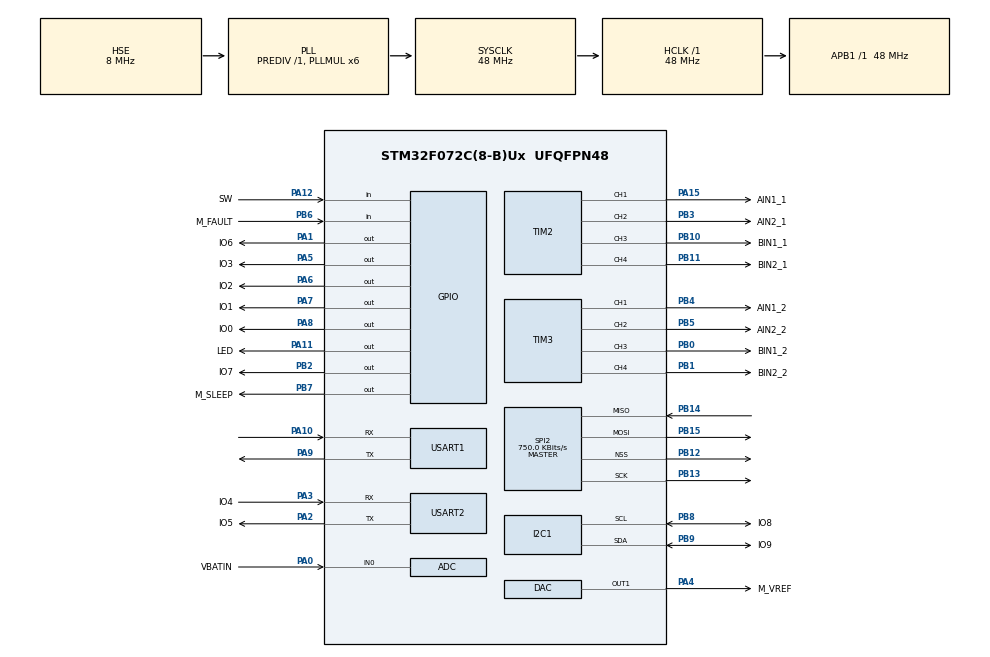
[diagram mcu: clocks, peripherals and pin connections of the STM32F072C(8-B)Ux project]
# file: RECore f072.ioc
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I2C1.Timing=0x20303E5D
Mcu.Family=STM32F0
Mcu.Name=STM32F072C(8-B)Ux
Mcu.Package=UFQFPN48
PA0.GPIO_Label=VBATIN
PA0.Mode=IN0
PA0.Signal=ADC_IN0
PA1.GPIO_Label=IO6
PA1.Signal=GPIO_Output
PA1.Stacked=true
PA10.Mode=Asynchronous
PA10.Signal=USART1_RX
PA11.GPIO_Label=LED
PA11.Signal=GPIO_Output
PA12.GPIO_Label=SW
PA12.GPIO_PuPd=GPIO_PULLUP
PA12.Signal=GPIO_Input
PA13.Mode=Serial_Wire
PA13.Signal=SYS_SWDIO
PA14.Mode=Serial_Wire
PA14.Signal=SYS_SWCLK
PA15.GPIO_Label=AIN1_1
PA15.Signal=S_TIM2_CH1_ETR
PA2.GPIO_Label=IO5
PA2.Signal=SharedStack_PA2
PA2.Stacked=true
PA3.GPIO_Label=IO4
PA3.Signal=SharedStack_PA3
PA3.Stacked=true
PA4.GPIO_Label=M_VREF
PA4.Signal=COMP_DAC1_group
PA5.GPIO_Label=IO3
PA5.Signal=GPIO_Output
PA5.Stacked=true
PA6.GPIO_Label=IO2
PA6.Signal=GPIO_Output
PA6.Stacked=true
PA7.GPIO_Label=IO1
PA7.Signal=GPIO_Output
PA7.Stacked=true
PA8.GPIO_Label=IO0
PA8.Signal=GPIO_Output
PA8.Stacked=true
PA9.Mode=Asynchronous
PA9.Signal=USART1_TX
PB0.GPIO_Label=BIN1_2
PB0.Signal=S_TIM3_CH3
PB1.GPIO_Label=BIN2_2
PB1.Signal=S_TIM3_CH4
PB10.GPIO_Label=BIN1_1
PB10.Signal=S_TIM2_CH3
PB11.GPIO_Label=BIN2_1
PB11.Signal=S_TIM2_CH4
PB12.Mode=NSS_Signal_Hard_Output
PB12.Signal=SPI2_NSS
PB13.Mode=Full_Duplex_Master
PB13.Signal=SPI2_SCK
PB14.Mode=Full_Duplex_Master
PB14.Signal=SPI2_MISO
PB15.Mode=Full_Duplex_Master
PB15.Signal=SPI2_MOSI
PB2.GPIO_Label=IO7
PB2.Signal=GPIO_Output
PB3.GPIO_Label=AIN2_1
PB3.Signal=S_TIM2_CH2
PB4.GPIO_Label=AIN1_2
PB4.Signal=S_TIM3_CH1
PB5.GPIO_Label=AIN2_2
PB5.Signal=S_TIM3_CH2
PB6.GPIO_Label=M_FAULT
PB6.Signal=GPIO_Input
PB7.GPIO_Label=M_SLEEP
PB7.Signal=GPIO_Output
PB8.GPIO_Label=IO8
PB8.Signal=SharedStack_PB8
PB8.Stacked=true
PB9.GPIO_Label=IO9
PB9.Signal=SharedStack_PB9
PB9.Stacked=true
PF0-OSC_IN.Mode=HSE-External-Oscillator
PF0-OSC_IN.Signal=RCC_OSC_IN
PF1-OSC_OUT.Mode=HSE-External-Oscillator
PF1-OSC_OUT.Signal=RCC_OSC_OUT
ProjectManager.HeapSize=0x200
ProjectManager.StackSize=0x400
ProjectManager.TargetToolchain=MDK-ARM V5.27
RCC.AHBFreq_Value=48000000
RCC.APB1Freq_Value=48000000
RCC.APB1TimFreq_Value=48000000
RCC.HCLKFreq_Value=48000000
RCC.I2c1ClockSelection=RCC_I2C1CLKSOURCE_SYSCLK
RCC.PLLMUL=RCC_PLL_MUL6
RCC.PLLSourceVirtual=RCC_PLLSOURCE_HSE
RCC.SYSCLKFreq_VALUE=48000000
RCC.SYSCLKSource=RCC_SYSCLKSOURCE_PLLCLK
SH.COMP_DAC1_group.0=DAC_OUT1,DAC_OUT1
SH.S_TIM2_CH1_ETR.0=TIM2_CH1,PWM Generation1 CH1
SH.S_TIM2_CH2.0=TIM2_CH2,PWM Generation2 CH2
SH.S_TIM2_CH3.0=TIM2_CH3,PWM Generation3 CH3
SH.S_TIM2_CH4.0=TIM2_CH4,PWM Generation4 CH4
SH.S_TIM3_CH1.0=TIM3_CH1,PWM Generation1 CH1
SH.S_TIM3_CH2.0=TIM3_CH2,PWM Generation2 CH2
SH.S_TIM3_CH3.0=TIM3_CH3,PWM Generation3 CH3
SH.S_TIM3_CH4.0=TIM3_CH4,PWM Generation4 CH4
SH.SharedStack_PA2.0=USART2_TX,Asynchronous
SH.SharedStack_PA3.0=USART2_RX,Asynchronous
SH.SharedStack_PB8.0=I2C1_SCL,I2C
SH.SharedStack_PB9.0=CAN_TX
SH.SharedStack_PB9.1=I2C1_SDA,I2C
SPI2.BaudRatePrescaler=SPI_BAUDRATEPRESCALER_64
SPI2.CalculateBaudRate=750.0 KBits/s
SPI2.Direction=SPI_DIRECTION_2LINES
SPI2.Mode=SPI_MODE_MASTER
SPI2.VirtualNSS=VM_NSSHARD
SPI2.VirtualType=VM_MASTER
TIM2.Channel-PWM\ Generation1\ CH1=TIM_CHANNEL_1
TIM2.Channel-PWM\ Generation2\ CH2=TIM_CHANNEL_2
TIM2.Channel-PWM\ Generation3\ CH3=TIM_CHANNEL_3
TIM2.Channel-PWM\ Generation4\ CH4=TIM_CHANNEL_4
TIM3.Channel-PWM\ Generation1\ CH1=TIM_CHANNEL_1
TIM3.Channel-PWM\ Generation2\ CH2=TIM_CHANNEL_2
TIM3.Channel-PWM\ Generation3\ CH3=TIM_CHANNEL_3
TIM3.Channel-PWM\ Generation4\ CH4=TIM_CHANNEL_4
USART1.VirtualMode-Asynchronous=VM_ASYNC
USART2.VirtualMode-Asynchronous=VM_ASYNC
VP_ADC_Vbat_Input.Mode=IN-Vbat
VP_TIM14_VS_ClockSourceINT.Mode=Enable_Timer
VP_TIM16_VS_ClockSourceINT.Mode=Enable_Timer
VP_TIM17_VS_ClockSourceINT.Mode=Enable_Timer
board=custom

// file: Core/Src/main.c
/* USER CODE BEGIN Header */
/**
  ******************************************************************************
  * @file           : main.c
  * @brief          : Main program body
  ******************************************************************************
  * @attention
  *
  * <h2><center>&copy; Copyright (c) 2021 STMicroelectronics.
  * All rights reserved.</center></h2>
  *
  * This software component is licensed by ST under BSD 3-Clause license,
  * the "License"; You may not use this file except in compliance with the
  * License. You may obtain a copy of the License at:
  *                        opensource.org/licenses/BSD-3-Clause
  *
  ******************************************************************************
  */
/* USER CODE END Header */
#include "main.h"

ADC_HandleTypeDef hadc;

DAC_HandleTypeDef hdac;

I2C_HandleTypeDef hi2c1;

SPI_HandleTypeDef hspi2;

TIM_HandleTypeDef htim2;
TIM_HandleTypeDef htim3;
TIM_HandleTypeDef htim14;
TIM_HandleTypeDef htim16;
TIM_HandleTypeDef htim17;

UART_HandleTypeDef huart1;
UART_HandleTypeDef huart2;

void SystemClock_Config(void);
static void MX_GPIO_Init(void);
static void MX_ADC_Init(void);
static void MX_DAC_Init(void);
static void MX_SPI2_Init(void);
static void MX_TIM2_Init(void);
static void MX_TIM3_Init(void);
static void MX_TIM14_Init(void);
static void MX_USART1_UART_Init(void);
static void MX_TIM16_Init(void);
static void MX_TIM17_Init(void);
static void MX_I2C1_Init(void);
static void MX_USART2_UART_Init(void);

int main(void)
{

  /* MCU Configuration--------------------------------------------------------*/

  /* Reset of all peripherals, Initializes the Flash interface and the Systick. */
  HAL_Init();

  /* Configure the system clock */
  SystemClock_Config();

  /* Initialize all configured peripherals */
  MX_GPIO_Init();
  MX_ADC_Init();
  MX_DAC_Init();
  MX_SPI2_Init();
  MX_TIM2_Init();
  MX_TIM3_Init();
  MX_TIM14_Init();
  MX_USART1_UART_Init();
  MX_TIM16_Init();
  MX_TIM17_Init();
  MX_I2C1_Init();
  MX_USART2_UART_Init();
  /* USER CODE BEGIN 2 */
	uint8_t pin_togle_status = 0;
	uint8_t exit_soft_start = 0;
	while(!exit_soft_start){
			if( HAL_GPIO_ReadPin(SW_GPIO_Port, SW_Pin) == GPIO_PIN_RESET){
					pin_togle_status = 1;
			}else if( (HAL_GPIO_ReadPin(SW_GPIO_Port, SW_Pin) == GPIO_PIN_SET) & pin_togle_status ){
					exit_soft_start = 1;
			}
	}

	uint16_t bright_value = 0;
	uint8_t fade_dir = 1;

	TIM_OC_InitTypeDef sConfigOC_1 = {0};
	sConfigOC_1.OCMode = TIM_OCMODE_PWM1;
	sConfigOC_1.Pulse = 65535;
	sConfigOC_1.OCPolarity = TIM_OCPOLARITY_HIGH;
	sConfigOC_1.OCFastMode = TIM_OCFAST_DISABLE;
	HAL_TIM_PWM_ConfigChannel(&htim1,&sConfigOC_1,TIM_CHANNEL_4);
	HAL_TIM_PWM_Start(&htim1,TIM_CHANNEL_4);
  /* USER CODE END 2 */

  /* Infinite loop */
  /* USER CODE BEGIN WHILE */
  while (1)
  {
		/*
		if(fade_dir){
				bright_value++;
		}else{
				bright_value--;
		}
		sConfigOC_1.Pulse = bright_value;
		HAL_TIM_PWM_ConfigChannel(&htim1,&sConfigOC_1,TIM_CHANNEL_4);

		if(bright_value == 65535){
				fade_dir = 0;
		}else if(bright_value == 0){
				fade_dir = 1;
		}*/
    /* USER CODE END WHILE */

  }
}

void SystemClock_Config(void)
{
  RCC_OscInitTypeDef RCC_OscInitStruct = {0};
  RCC_ClkInitTypeDef RCC_ClkInitStruct = {0};
  RCC_PeriphCLKInitTypeDef PeriphClkInit = {0};

  /** Initializes the RCC Oscillators according to the specified parameters
  * in the RCC_OscInitTypeDef structure.
  */
  RCC_OscInitStruct.OscillatorType = RCC_OSCILLATORTYPE_HSI14|RCC_OSCILLATORTYPE_HSE;
  RCC_OscInitStruct.HSEState = RCC_HSE_ON;
  RCC_OscInitStruct.HSI14State = RCC_HSI14_ON;
  RCC_OscInitStruct.HSI14CalibrationValue = 16;
  RCC_OscInitStruct.PLL.PLLState = RCC_PLL_ON;
  RCC_OscInitStruct.PLL.PLLSource = RCC_PLLSOURCE_HSE;
  RCC_OscInitStruct.PLL.PLLMUL = RCC_PLL_MUL6;
  RCC_OscInitStruct.PLL.PREDIV = RCC_PREDIV_DIV1;
  if (HAL_RCC_OscConfig(&RCC_OscInitStruct) != HAL_OK)
  {
    Error_Handler();
  }
  /** Initializes the CPU, AHB and APB buses clocks
  */
  RCC_ClkInitStruct.ClockType = RCC_CLOCKTYPE_HCLK|RCC_CLOCKTYPE_SYSCLK
                              |RCC_CLOCKTYPE_PCLK1;
  RCC_ClkInitStruct.SYSCLKSource = RCC_SYSCLKSOURCE_PLLCLK;
  RCC_ClkInitStruct.AHBCLKDivider = RCC_SYSCLK_DIV1;
  RCC_ClkInitStruct.APB1CLKDivider = RCC_HCLK_DIV1;

  if (HAL_RCC_ClockConfig(&RCC_ClkInitStruct, FLASH_LATENCY_1) != HAL_OK)
  {
    Error_Handler();
  }
  PeriphClkInit.PeriphClockSelection = RCC_PERIPHCLK_USART1|RCC_PERIPHCLK_USART2
                              |RCC_PERIPHCLK_I2C1;
  PeriphClkInit.Usart1ClockSelection = RCC_USART1CLKSOURCE_PCLK1;
  PeriphClkInit.Usart2ClockSelection = RCC_USART2CLKSOURCE_PCLK1;
  PeriphClkInit.I2c1ClockSelection = RCC_I2C1CLKSOURCE_SYSCLK;
  if (HAL_RCCEx_PeriphCLKConfig(&PeriphClkInit) != HAL_OK)
  {
    Error_Handler();
  }
}

static void MX_ADC_Init(void)
{

  ADC_ChannelConfTypeDef sConfig = {0};

  /** Configure the global features of the ADC (Clock, Resolution, Data Alignment and number of conversion)
  */
  hadc.Instance = ADC1;
  hadc.Init.ClockPrescaler = ADC_CLOCK_ASYNC_DIV1;
  hadc.Init.Resolution = ADC_RESOLUTION_12B;
  hadc.Init.DataAlign = ADC_DATAALIGN_RIGHT;
  hadc.Init.ScanConvMode = ADC_SCAN_DIRECTION_FORWARD;
  hadc.Init.EOCSelection = ADC_EOC_SINGLE_CONV;
  hadc.Init.LowPowerAutoWait = DISABLE;
  hadc.Init.LowPowerAutoPowerOff = DISABLE;
  hadc.Init.ContinuousConvMode = DISABLE;
  hadc.Init.DiscontinuousConvMode = DISABLE;
  hadc.Init.ExternalTrigConv = ADC_SOFTWARE_START;
  hadc.Init.ExternalTrigConvEdge = ADC_EXTERNALTRIGCONVEDGE_NONE;
  hadc.Init.DMAContinuousRequests = DISABLE;
  hadc.Init.Overrun = ADC_OVR_DATA_PRESERVED;
  if (HAL_ADC_Init(&hadc) != HAL_OK)
  {
    Error_Handler();
  }
  /** Configure for the selected ADC regular channel to be converted.
  */
  sConfig.Channel = ADC_CHANNEL_0;
  sConfig.Rank = ADC_RANK_CHANNEL_NUMBER;
  sConfig.SamplingTime = ADC_SAMPLETIME_1CYCLE_5;
  if (HAL_ADC_ConfigChannel(&hadc, &sConfig) != HAL_OK)
  {
    Error_Handler();
  }
  /** Configure for the selected ADC regular channel to be converted.
  */
  sConfig.Channel = ADC_CHANNEL_VBAT;
  if (HAL_ADC_ConfigChannel(&hadc, &sConfig) != HAL_OK)
  {
    Error_Handler();
  }

}

static void MX_DAC_Init(void)
{

  DAC_ChannelConfTypeDef sConfig = {0};

  /** DAC Initialization
  */
  hdac.Instance = DAC;
  if (HAL_DAC_Init(&hdac) != HAL_OK)
  {
    Error_Handler();
  }
  /** DAC channel OUT1 config
  */
  sConfig.DAC_Trigger = DAC_TRIGGER_NONE;
  sConfig.DAC_OutputBuffer = DAC_OUTPUTBUFFER_ENABLE;
  if (HAL_DAC_ConfigChannel(&hdac, &sConfig, DAC_CHANNEL_1) != HAL_OK)
  {
    Error_Handler();
  }

}

static void MX_I2C1_Init(void)
{

  hi2c1.Instance = I2C1;
  hi2c1.Init.Timing = 0x20303E5D;
  hi2c1.Init.OwnAddress1 = 0;
  hi2c1.Init.AddressingMode = I2C_ADDRESSINGMODE_7BIT;
  hi2c1.Init.DualAddressMode = I2C_DUALADDRESS_DISABLE;
  hi2c1.Init.OwnAddress2 = 0;
  hi2c1.Init.OwnAddress2Masks = I2C_OA2_NOMASK;
  hi2c1.Init.GeneralCallMode = I2C_GENERALCALL_DISABLE;
  hi2c1.Init.NoStretchMode = I2C_NOSTRETCH_DISABLE;
  if (HAL_I2C_Init(&hi2c1) != HAL_OK)
  {
    Error_Handler();
  }
  /** Configure Analogue filter
  */
  if (HAL_I2CEx_ConfigAnalogFilter(&hi2c1, I2C_ANALOGFILTER_ENABLE) != HAL_OK)
  {
    Error_Handler();
  }
  /** Configure Digital filter
  */
  if (HAL_I2CEx_ConfigDigitalFilter(&hi2c1, 0) != HAL_OK)
  {
    Error_Handler();
  }

}

static void MX_SPI2_Init(void)
{

  /* SPI2 parameter configuration*/
  hspi2.Instance = SPI2;
  hspi2.Init.Mode = SPI_MODE_MASTER;
  hspi2.Init.Direction = SPI_DIRECTION_2LINES;
  hspi2.Init.DataSize = SPI_DATASIZE_4BIT;
  hspi2.Init.CLKPolarity = SPI_POLARITY_LOW;
  hspi2.Init.CLKPhase = SPI_PHASE_1EDGE;
  hspi2.Init.NSS = SPI_NSS_HARD_OUTPUT;
  hspi2.Init.BaudRatePrescaler = SPI_BAUDRATEPRESCALER_64;
  hspi2.Init.FirstBit = SPI_FIRSTBIT_MSB;
  hspi2.Init.TIMode = SPI_TIMODE_DISABLE;
  hspi2.Init.CRCCalculation = SPI_CRCCALCULATION_DISABLE;
  hspi2.Init.CRCPolynomial = 7;
  hspi2.Init.CRCLength = SPI_CRC_LENGTH_DATASIZE;
  hspi2.Init.NSSPMode = SPI_NSS_PULSE_ENABLE;
  if (HAL_SPI_Init(&hspi2) != HAL_OK)
  {
    Error_Handler();
  }

}

static void MX_TIM2_Init(void)
{

  TIM_MasterConfigTypeDef sMasterConfig = {0};
  TIM_OC_InitTypeDef sConfigOC = {0};

  htim2.Instance = TIM2;
  htim2.Init.Prescaler = 0;
  htim2.Init.CounterMode = TIM_COUNTERMODE_UP;
  htim2.Init.Period = 4294967295;
  htim2.Init.ClockDivision = TIM_CLOCKDIVISION_DIV1;
  htim2.Init.AutoReloadPreload = TIM_AUTORELOAD_PRELOAD_DISABLE;
  if (HAL_TIM_PWM_Init(&htim2) != HAL_OK)
  {
    Error_Handler();
  }
  if (HAL_TIM_OC_Init(&htim2) != HAL_OK)
  {
    Error_Handler();
  }
  sMasterConfig.MasterOutputTrigger = TIM_TRGO_RESET;
  sMasterConfig.MasterSlaveMode = TIM_MASTERSLAVEMODE_DISABLE;
  if (HAL_TIMEx_MasterConfigSynchronization(&htim2, &sMasterConfig) != HAL_OK)
  {
    Error_Handler();
  }
  sConfigOC.OCMode = TIM_OCMODE_PWM1;
  sConfigOC.Pulse = 0;
  sConfigOC.OCPolarity = TIM_OCPOLARITY_HIGH;
  sConfigOC.OCFastMode = TIM_OCFAST_DISABLE;
  if (HAL_TIM_PWM_ConfigChannel(&htim2, &sConfigOC, TIM_CHANNEL_1) != HAL_OK)
  {
    Error_Handler();
  }
  if (HAL_TIM_PWM_ConfigChannel(&htim2, &sConfigOC, TIM_CHANNEL_2) != HAL_OK)
  {
    Error_Handler();
  }
  if (HAL_TIM_PWM_ConfigChannel(&htim2, &sConfigOC, TIM_CHANNEL_3) != HAL_OK)
  {
    Error_Handler();
  }
  sConfigOC.OCMode = TIM_OCMODE_TIMING;
  if (HAL_TIM_OC_ConfigChannel(&htim2, &sConfigOC, TIM_CHANNEL_4) != HAL_OK)
  {
    Error_Handler();
  }
  HAL_TIM_MspPostInit(&htim2);

}

static void MX_TIM3_Init(void)
{

  TIM_MasterConfigTypeDef sMasterConfig = {0};
  TIM_OC_InitTypeDef sConfigOC = {0};

  htim3.Instance = TIM3;
  htim3.Init.Prescaler = 0;
  htim3.Init.CounterMode = TIM_COUNTERMODE_UP;
  htim3.Init.Period = 65535;
  htim3.Init.ClockDivision = TIM_CLOCKDIVISION_DIV1;
  htim3.Init.AutoReloadPreload = TIM_AUTORELOAD_PRELOAD_DISABLE;
  if (HAL_TIM_PWM_Init(&htim3) != HAL_OK)
  {
    Error_Handler();
  }
  sMasterConfig.MasterOutputTrigger = TIM_TRGO_RESET;
  sMasterConfig.MasterSlaveMode = TIM_MASTERSLAVEMODE_DISABLE;
  if (HAL_TIMEx_MasterConfigSynchronization(&htim3, &sMasterConfig) != HAL_OK)
  {
    Error_Handler();
  }
  sConfigOC.OCMode = TIM_OCMODE_PWM1;
  sConfigOC.Pulse = 0;
  sConfigOC.OCPolarity = TIM_OCPOLARITY_HIGH;
  sConfigOC.OCFastMode = TIM_OCFAST_DISABLE;
  if (HAL_TIM_PWM_ConfigChannel(&htim3, &sConfigOC, TIM_CHANNEL_1) != HAL_OK)
  {
    Error_Handler();
  }
  if (HAL_TIM_PWM_ConfigChannel(&htim3, &sConfigOC, TIM_CHANNEL_2) != HAL_OK)
  {
    Error_Handler();
  }
  if (HAL_TIM_PWM_ConfigChannel(&htim3, &sConfigOC, TIM_CHANNEL_3) != HAL_OK)
  {
    Error_Handler();
  }
  if (HAL_TIM_PWM_ConfigChannel(&htim3, &sConfigOC, TIM_CHANNEL_4) != HAL_OK)
  {
    Error_Handler();
  }
  HAL_TIM_MspPostInit(&htim3);

}

static void MX_TIM14_Init(void)
{

  htim14.Instance = TIM14;
  htim14.Init.Prescaler = 0;
  htim14.Init.CounterMode = TIM_COUNTERMODE_UP;
  htim14.Init.Period = 65535;
  htim14.Init.ClockDivision = TIM_CLOCKDIVISION_DIV1;
  htim14.Init.AutoReloadPreload = TIM_AUTORELOAD_PRELOAD_DISABLE;
  if (HAL_TIM_Base_Init(&htim14) != HAL_OK)
  {
    Error_Handler();
  }

}

static void MX_TIM16_Init(void)
{

  htim16.Instance = TIM16;
  htim16.Init.Prescaler = 0;
  htim16.Init.CounterMode = TIM_COUNTERMODE_UP;
  htim16.Init.Period = 65535;
  htim16.Init.ClockDivision = TIM_CLOCKDIVISION_DIV1;
  htim16.Init.RepetitionCounter = 0;
  htim16.Init.AutoReloadPreload = TIM_AUTORELOAD_PRELOAD_DISABLE;
  if (HAL_TIM_Base_Init(&htim16) != HAL_OK)
  {
    Error_Handler();
  }

}

static void MX_TIM17_Init(void)
{

  htim17.Instance = TIM17;
  htim17.Init.Prescaler = 0;
  htim17.Init.CounterMode = TIM_COUNTERMODE_UP;
  htim17.Init.Period = 65535;
  htim17.Init.ClockDivision = TIM_CLOCKDIVISION_DIV1;
  htim17.Init.RepetitionCounter = 0;
  htim17.Init.AutoReloadPreload = TIM_AUTORELOAD_PRELOAD_DISABLE;
  if (HAL_TIM_Base_Init(&htim17) != HAL_OK)
  {
    Error_Handler();
  }

}

static void MX_USART1_UART_Init(void)
{

  huart1.Instance = USART1;
  huart1.Init.BaudRate = 38400;
  huart1.Init.WordLength = UART_WORDLENGTH_8B;
  huart1.Init.StopBits = UART_STOPBITS_1;
  huart1.Init.Parity = UART_PARITY_NONE;
  huart1.Init.Mode = UART_MODE_TX_RX;
  huart1.Init.HwFlowCtl = UART_HWCONTROL_NONE;
  huart1.Init.OverSampling = UART_OVERSAMPLING_16;
  huart1.Init.OneBitSampling = UART_ONE_BIT_SAMPLE_DISABLE;
  huart1.AdvancedInit.AdvFeatureInit = UART_ADVFEATURE_NO_INIT;
  if (HAL_UART_Init(&huart1) != HAL_OK)
  {
    Error_Handler();
  }

}

static void MX_USART2_UART_Init(void)
{

  huart2.Instance = USART2;
  huart2.Init.BaudRate = 38400;
  huart2.Init.WordLength = UART_WORDLENGTH_8B;
  huart2.Init.StopBits = UART_STOPBITS_1;
  huart2.Init.Parity = UART_PARITY_NONE;
  huart2.Init.Mode = UART_MODE_TX_RX;
  huart2.Init.HwFlowCtl = UART_HWCONTROL_NONE;
  huart2.Init.OverSampling = UART_OVERSAMPLING_16;
  huart2.Init.OneBitSampling = UART_ONE_BIT_SAMPLE_DISABLE;
  huart2.AdvancedInit.AdvFeatureInit = UART_ADVFEATURE_NO_INIT;
  if (HAL_UART_Init(&huart2) != HAL_OK)
  {
    Error_Handler();
  }

}

static void MX_GPIO_Init(void)
{
  GPIO_InitTypeDef GPIO_InitStruct = {0};

  /* GPIO Ports Clock Enable */
  __HAL_RCC_GPIOF_CLK_ENABLE();
  __HAL_RCC_GPIOA_CLK_ENABLE();
  __HAL_RCC_GPIOB_CLK_ENABLE();

  /*Configure GPIO pin Output Level */
  HAL_GPIO_WritePin(GPIOA, IO6_Pin|IO3_Pin|IO2_Pin|IO1_Pin
                          |IO0_Pin, GPIO_PIN_RESET);

  /*Configure GPIO pin Output Level */
  HAL_GPIO_WritePin(GPIOB, IO7_Pin|M_SLEEP_Pin, GPIO_PIN_RESET);

  /*Configure GPIO pins : IO6_Pin IO3_Pin IO2_Pin IO1_Pin
                           IO0_Pin */
  GPIO_InitStruct.Pin = IO6_Pin|IO3_Pin|IO2_Pin|IO1_Pin
                          |IO0_Pin;
  GPIO_InitStruct.Mode = GPIO_MODE_OUTPUT_PP;
  GPIO_InitStruct.Pull = GPIO_NOPULL;
  GPIO_InitStruct.Speed = GPIO_SPEED_FREQ_LOW;
  HAL_GPIO_Init(GPIOA, &GPIO_InitStruct);

  /*Configure GPIO pins : IO7_Pin M_SLEEP_Pin */
  GPIO_InitStruct.Pin = IO7_Pin|M_SLEEP_Pin;
  GPIO_InitStruct.Mode = GPIO_MODE_OUTPUT_PP;
  GPIO_InitStruct.Pull = GPIO_NOPULL;
  GPIO_InitStruct.Speed = GPIO_SPEED_FREQ_LOW;
  HAL_GPIO_Init(GPIOB, &GPIO_InitStruct);

  /*Configure GPIO pin : LED_Pin */
  GPIO_InitStruct.Pin = LED_Pin;
  GPIO_InitStruct.Mode = GPIO_MODE_AF_PP;
  GPIO_InitStruct.Pull = GPIO_NOPULL;
  GPIO_InitStruct.Speed = GPIO_SPEED_FREQ_LOW;
  GPIO_InitStruct.Alternate = GPIO_AF2_TIM1;
  HAL_GPIO_Init(LED_GPIO_Port, &GPIO_InitStruct);

  /*Configure GPIO pin : SW_Pin */
  GPIO_InitStruct.Pin = SW_Pin;
  GPIO_InitStruct.Mode = GPIO_MODE_INPUT;
  GPIO_InitStruct.Pull = GPIO_PULLUP;
  HAL_GPIO_Init(SW_GPIO_Port, &GPIO_InitStruct);

  /*Configure GPIO pin : M_FAULT_Pin */
  GPIO_InitStruct.Pin = M_FAULT_Pin;
  GPIO_InitStruct.Mode = GPIO_MODE_INPUT;
  GPIO_InitStruct.Pull = GPIO_NOPULL;
  HAL_GPIO_Init(M_FAULT_GPIO_Port, &GPIO_InitStruct);

}

void Error_Handler(void)
{
}

/************************ (C) COPYRIGHT STMicroelectronics *****END OF FILE****/
